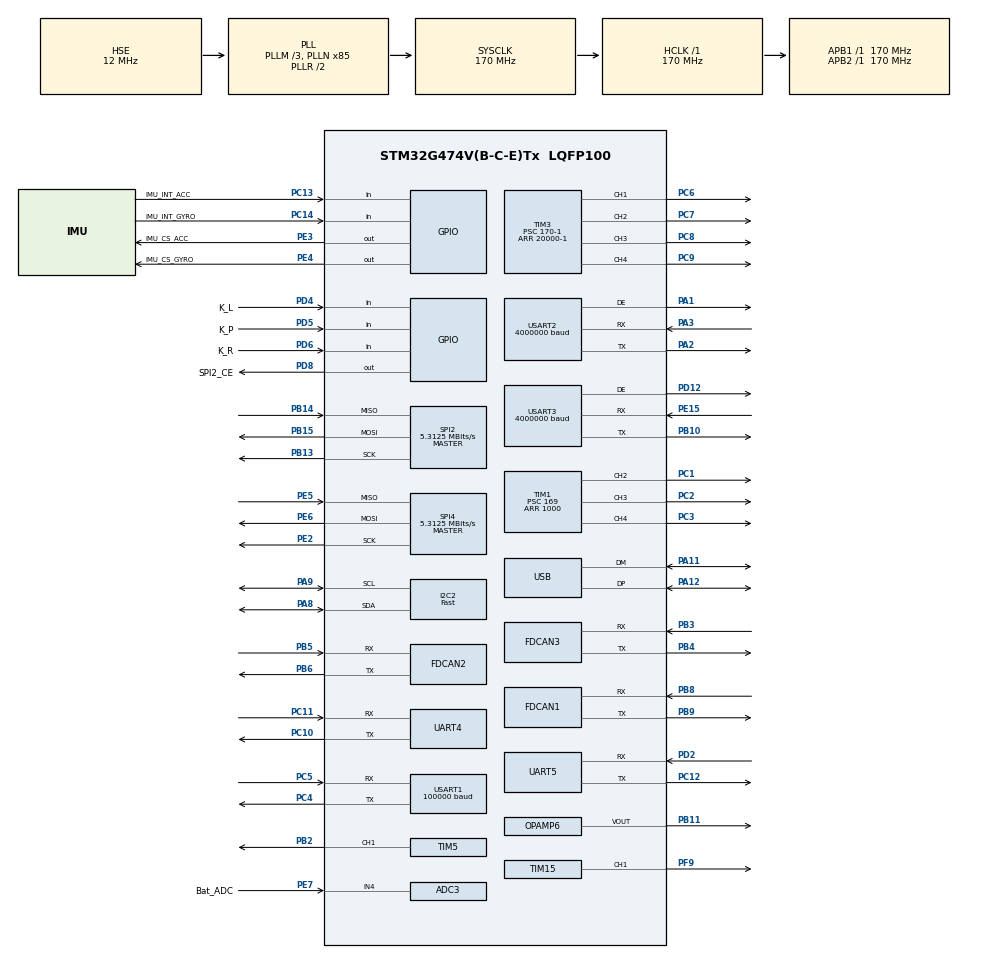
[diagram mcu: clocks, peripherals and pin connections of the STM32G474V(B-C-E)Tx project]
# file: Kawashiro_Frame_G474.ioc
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ADC3.Channel-0\#ChannelRegularConversion=ADC_CHANNEL_4
ADC3.NbrOfConversionFlag=1
ADC3.OffsetNumber-0\#ChannelRegularConversion=ADC_OFFSET_NONE
ADC3.Rank-0\#ChannelRegularConversion=1
ADC3.SamplingTime-0\#ChannelRegularConversion=ADC_SAMPLETIME_2CYCLES_5
ADC3.master=1
Dma.Request0=UART4_RX
Dma.Request1=UART5_RX
Dma.Request2=USART1_RX
Dma.Request3=USART2_RX
Dma.Request4=USART3_RX
Dma.Request5=UART4_TX
Dma.Request6=UART5_TX
Dma.Request7=USART1_TX
Dma.Request8=USART2_TX
Dma.Request9=USART3_TX
Dma.UART4_RX.0.Direction=DMA_PERIPH_TO_MEMORY
Dma.UART4_RX.0.EventEnable=DISABLE
Dma.UART4_RX.0.Instance=DMA1_Channel1
Dma.UART4_RX.0.MemDataAlignment=DMA_MDATAALIGN_BYTE
Dma.UART4_RX.0.MemInc=DMA_MINC_ENABLE
Dma.UART4_RX.0.Mode=DMA_NORMAL
Dma.UART4_RX.0.PeriphDataAlignment=DMA_PDATAALIGN_BYTE
Dma.UART4_RX.0.PeriphInc=DMA_PINC_DISABLE
Dma.UART4_RX.0.Polarity=HAL_DMAMUX_REQ_GEN_RISING
Dma.UART4_RX.0.Priority=DMA_PRIORITY_LOW
Dma.UART4_RX.0.RequestNumber=1
Dma.UART4_RX.0.SignalID=NONE
Dma.UART4_RX.0.SyncEnable=DISABLE
Dma.UART4_RX.0.SyncPolarity=HAL_DMAMUX_SYNC_NO_EVENT
Dma.UART4_RX.0.SyncRequestNumber=1
Dma.UART4_RX.0.SyncSignalID=NONE
Dma.UART4_TX.5.Direction=DMA_MEMORY_TO_PERIPH
Dma.UART4_TX.5.EventEnable=DISABLE
Dma.UART4_TX.5.Instance=DMA1_Channel6
Dma.UART4_TX.5.MemDataAlignment=DMA_MDATAALIGN_BYTE
Dma.UART4_TX.5.MemInc=DMA_MINC_ENABLE
Dma.UART4_TX.5.Mode=DMA_NORMAL
Dma.UART4_TX.5.PeriphDataAlignment=DMA_PDATAALIGN_BYTE
Dma.UART4_TX.5.PeriphInc=DMA_PINC_DISABLE
Dma.UART4_TX.5.Polarity=HAL_DMAMUX_REQ_GEN_RISING
Dma.UART4_TX.5.Priority=DMA_PRIORITY_LOW
Dma.UART4_TX.5.RequestNumber=1
Dma.UART4_TX.5.SignalID=NONE
Dma.UART4_TX.5.SyncEnable=DISABLE
Dma.UART4_TX.5.SyncPolarity=HAL_DMAMUX_SYNC_NO_EVENT
Dma.UART4_TX.5.SyncRequestNumber=1
Dma.UART4_TX.5.SyncSignalID=NONE
Dma.UART5_RX.1.Direction=DMA_PERIPH_TO_MEMORY
Dma.UART5_RX.1.EventEnable=ENABLE
Dma.UART5_RX.1.Instance=DMA1_Channel2
Dma.UART5_RX.1.MemDataAlignment=DMA_MDATAALIGN_BYTE
Dma.UART5_RX.1.MemInc=DMA_MINC_ENABLE
Dma.UART5_RX.1.Mode=DMA_NORMAL
Dma.UART5_RX.1.PeriphDataAlignment=DMA_PDATAALIGN_BYTE
Dma.UART5_RX.1.PeriphInc=DMA_PINC_DISABLE
Dma.UART5_RX.1.Polarity=HAL_DMAMUX_REQ_GEN_RISING
Dma.UART5_RX.1.Priority=DMA_PRIORITY_LOW
Dma.UART5_RX.1.RequestNumber=1
Dma.UART5_RX.1.SignalID=NONE
Dma.UART5_RX.1.SyncEnable=DISABLE
Dma.UART5_RX.1.SyncPolarity=HAL_DMAMUX_SYNC_NO_EVENT
Dma.UART5_RX.1.SyncRequestNumber=1
Dma.UART5_RX.1.SyncSignalID=NONE
Dma.UART5_TX.6.Direction=DMA_MEMORY_TO_PERIPH
Dma.UART5_TX.6.EventEnable=DISABLE
Dma.UART5_TX.6.Instance=DMA1_Channel7
Dma.UART5_TX.6.MemDataAlignment=DMA_MDATAALIGN_BYTE
Dma.UART5_TX.6.MemInc=DMA_MINC_ENABLE
Dma.UART5_TX.6.Mode=DMA_NORMAL
Dma.UART5_TX.6.PeriphDataAlignment=DMA_PDATAALIGN_BYTE
Dma.UART5_TX.6.PeriphInc=DMA_PINC_DISABLE
Dma.UART5_TX.6.Polarity=HAL_DMAMUX_REQ_GEN_RISING
Dma.UART5_TX.6.Priority=DMA_PRIORITY_LOW
Dma.UART5_TX.6.RequestNumber=1
Dma.UART5_TX.6.SignalID=NONE
Dma.UART5_TX.6.SyncEnable=DISABLE
Dma.UART5_TX.6.SyncPolarity=HAL_DMAMUX_SYNC_NO_EVENT
Dma.UART5_TX.6.SyncRequestNumber=1
Dma.UART5_TX.6.SyncSignalID=NONE
Dma.USART1_RX.2.Direction=DMA_PERIPH_TO_MEMORY
Dma.USART1_RX.2.EventEnable=DISABLE
Dma.USART1_RX.2.Instance=DMA1_Channel3
Dma.USART1_RX.2.MemDataAlignment=DMA_MDATAALIGN_BYTE
Dma.USART1_RX.2.MemInc=DMA_MINC_ENABLE
Dma.USART1_RX.2.Mode=DMA_NORMAL
Dma.USART1_RX.2.PeriphDataAlignment=DMA_PDATAALIGN_BYTE
Dma.USART1_RX.2.PeriphInc=DMA_PINC_DISABLE
Dma.USART1_RX.2.Polarity=HAL_DMAMUX_REQ_GEN_RISING
Dma.USART1_RX.2.Priority=DMA_PRIORITY_LOW
Dma.USART1_RX.2.RequestNumber=1
Dma.USART1_RX.2.SignalID=NONE
Dma.USART1_RX.2.SyncEnable=DISABLE
Dma.USART1_RX.2.SyncPolarity=HAL_DMAMUX_SYNC_NO_EVENT
Dma.USART1_RX.2.SyncRequestNumber=1
Dma.USART1_RX.2.SyncSignalID=NONE
Dma.USART1_TX.7.Direction=DMA_MEMORY_TO_PERIPH
Dma.USART1_TX.7.EventEnable=DISABLE
Dma.USART1_TX.7.Instance=DMA1_Channel8
Dma.USART1_TX.7.MemDataAlignment=DMA_MDATAALIGN_BYTE
Dma.USART1_TX.7.MemInc=DMA_MINC_ENABLE
Dma.USART1_TX.7.Mode=DMA_NORMAL
Dma.USART1_TX.7.PeriphDataAlignment=DMA_PDATAALIGN_BYTE
Dma.USART1_TX.7.PeriphInc=DMA_PINC_DISABLE
Dma.USART1_TX.7.Polarity=HAL_DMAMUX_REQ_GEN_RISING
Dma.USART1_TX.7.Priority=DMA_PRIORITY_LOW
Dma.USART1_TX.7.RequestNumber=1
Dma.USART1_TX.7.SignalID=NONE
Dma.USART1_TX.7.SyncEnable=DISABLE
Dma.USART1_TX.7.SyncPolarity=HAL_DMAMUX_SYNC_NO_EVENT
Dma.USART1_TX.7.SyncRequestNumber=1
Dma.USART1_TX.7.SyncSignalID=NONE
Dma.USART2_RX.3.Direction=DMA_PERIPH_TO_MEMORY
Dma.USART2_RX.3.EventEnable=DISABLE
Dma.USART2_RX.3.Instance=DMA1_Channel4
Dma.USART2_RX.3.MemDataAlignment=DMA_MDATAALIGN_BYTE
Dma.USART2_RX.3.MemInc=DMA_MINC_ENABLE
Dma.USART2_RX.3.Mode=DMA_NORMAL
Dma.USART2_RX.3.PeriphDataAlignment=DMA_PDATAALIGN_BYTE
Dma.USART2_RX.3.PeriphInc=DMA_PINC_DISABLE
Dma.USART2_RX.3.Polarity=HAL_DMAMUX_REQ_GEN_RISING
Dma.USART2_RX.3.Priority=DMA_PRIORITY_LOW
Dma.USART2_RX.3.RequestNumber=1
Dma.USART2_RX.3.SignalID=NONE
Dma.USART2_RX.3.SyncEnable=DISABLE
Dma.USART2_RX.3.SyncPolarity=HAL_DMAMUX_SYNC_NO_EVENT
Dma.USART2_RX.3.SyncRequestNumber=1
Dma.USART2_RX.3.SyncSignalID=NONE
Dma.USART2_TX.8.Direction=DMA_MEMORY_TO_PERIPH
Dma.USART2_TX.8.EventEnable=DISABLE
Dma.USART2_TX.8.Instance=DMA2_Channel1
Dma.USART2_TX.8.MemDataAlignment=DMA_MDATAALIGN_BYTE
Dma.USART2_TX.8.MemInc=DMA_MINC_ENABLE
Dma.USART2_TX.8.Mode=DMA_NORMAL
Dma.USART2_TX.8.PeriphDataAlignment=DMA_PDATAALIGN_BYTE
Dma.USART2_TX.8.PeriphInc=DMA_PINC_DISABLE
Dma.USART2_TX.8.Polarity=HAL_DMAMUX_REQ_GEN_RISING
Dma.USART2_TX.8.Priority=DMA_PRIORITY_LOW
Dma.USART2_TX.8.RequestNumber=1
Dma.USART2_TX.8.SignalID=NONE
Dma.USART2_TX.8.SyncEnable=DISABLE
Dma.USART2_TX.8.SyncPolarity=HAL_DMAMUX_SYNC_NO_EVENT
Dma.USART2_TX.8.SyncRequestNumber=1
Dma.USART2_TX.8.SyncSignalID=NONE
Dma.USART3_RX.4.Direction=DMA_PERIPH_TO_MEMORY
Dma.USART3_RX.4.EventEnable=DISABLE
Dma.USART3_RX.4.Instance=DMA1_Channel5
Dma.USART3_RX.4.MemDataAlignment=DMA_MDATAALIGN_BYTE
Dma.USART3_RX.4.MemInc=DMA_MINC_ENABLE
Dma.USART3_RX.4.Mode=DMA_NORMAL
Dma.USART3_RX.4.PeriphDataAlignment=DMA_PDATAALIGN_BYTE
Dma.USART3_RX.4.PeriphInc=DMA_PINC_DISABLE
Dma.USART3_RX.4.Polarity=HAL_DMAMUX_REQ_GEN_RISING
Dma.USART3_RX.4.Priority=DMA_PRIORITY_LOW
Dma.USART3_RX.4.RequestNumber=1
Dma.USART3_RX.4.SignalID=NONE
Dma.USART3_RX.4.SyncEnable=DISABLE
Dma.USART3_RX.4.SyncPolarity=HAL_DMAMUX_SYNC_NO_EVENT
Dma.USART3_RX.4.SyncRequestNumber=1
Dma.USART3_RX.4.SyncSignalID=NONE
Dma.USART3_TX.9.Direction=DMA_MEMORY_TO_PERIPH
Dma.USART3_TX.9.EventEnable=DISABLE
Dma.USART3_TX.9.Instance=DMA2_Channel2
Dma.USART3_TX.9.MemDataAlignment=DMA_MDATAALIGN_BYTE
Dma.USART3_TX.9.MemInc=DMA_MINC_ENABLE
Dma.USART3_TX.9.Mode=DMA_NORMAL
Dma.USART3_TX.9.PeriphDataAlignment=DMA_PDATAALIGN_BYTE
Dma.USART3_TX.9.PeriphInc=DMA_PINC_DISABLE
Dma.USART3_TX.9.Polarity=HAL_DMAMUX_REQ_GEN_RISING
Dma.USART3_TX.9.Priority=DMA_PRIORITY_LOW
Dma.USART3_TX.9.RequestNumber=1
Dma.USART3_TX.9.SignalID=NONE
Dma.USART3_TX.9.SyncEnable=DISABLE
Dma.USART3_TX.9.SyncPolarity=HAL_DMAMUX_SYNC_NO_EVENT
Dma.USART3_TX.9.SyncRequestNumber=1
Dma.USART3_TX.9.SyncSignalID=NONE
FDCAN1.AutoRetransmission=ENABLE
FDCAN1.CalculateBaudRateNominal=1000000
FDCAN1.CalculateTimeBitNominal=1000
FDCAN1.CalculateTimeQuantumNominal=100.0
FDCAN1.NominalPrescaler=17
FDCAN1.NominalTimeSeg1=4
FDCAN1.NominalTimeSeg2=5
FDCAN2.AutoRetransmission=ENABLE
FDCAN2.CalculateBaudRateNominal=1000000
FDCAN2.CalculateTimeBitNominal=1000
FDCAN2.CalculateTimeQuantumNominal=100.0
FDCAN2.NominalPrescaler=17
FDCAN2.NominalTimeSeg1=4
FDCAN2.NominalTimeSeg2=5
FDCAN3.AutoRetransmission=ENABLE
FDCAN3.CalculateBaudRateNominal=1000000
FDCAN3.CalculateTimeBitNominal=1000
FDCAN3.CalculateTimeQuantumNominal=100.0
FDCAN3.NominalPrescaler=17
FDCAN3.NominalTimeSeg1=4
FDCAN3.NominalTimeSeg2=5
FREERTOS.Tasks01=defaultTask,0,128,StartDefaultTask,Default,NULL,Dynamic,NULL,NULL;Robo,-3,512,Robo_Task,Default,NULL,Dynamic,NULL,NULL;INS,-3,1024,INS_Task,Default,NULL,Dynamic,NULL,NULL;Gimbal,-3,1024,Gimbal_Task,Default,NULL,Dynamic,NULL,NULL;Chassis,-3,1024,Chassis_Task,Default,NULL,Dynamic,NULL,NULL;Communicate,-3,512,Communicate_Task,Default,NULL,Dynamic,NULL,NULL;Key_LED,-3,256,Key_LED_Task,Default,NULL,Dynamic,NULL,NULL;Buzzer,-3,256,Buzzer_Task,Default,NULL,Dynamic,NULL,NULL;UI,-3,256,UI_Task,Default,NULL,Dynamic,NULL,NULL;Shoot,-3,1024,Shoot_Task,Default,NULL,Dynamic,NULL,NULL;Aim,-3,512,Aim_Task,Default,NULL,Dynamic,NULL,NULL;ErrorHandle,-3,256,ErrorHandle_Task,Default,NULL,Dynamic,NULL,NULL
FREERTOS.configTOTAL_HEAP_SIZE=32768
I2C2.I2C_Speed_Mode=I2C_Fast
I2C2.Timing=0x40621236
Mcu.Family=STM32G4
Mcu.Name=STM32G474V(B-C-E)Tx
Mcu.Package=LQFP100
NVIC.DMA1_Channel1_IRQn=true\:4\:0\:true\:false\:true\:false\:false\:true\:true
NVIC.DMA1_Channel2_IRQn=true\:4\:0\:true\:false\:true\:false\:false\:true\:true
NVIC.DMA1_Channel3_IRQn=true\:4\:0\:true\:false\:true\:false\:false\:true\:true
NVIC.DMA1_Channel4_IRQn=true\:4\:0\:true\:false\:true\:false\:false\:true\:true
NVIC.DMA1_Channel5_IRQn=true\:4\:0\:true\:false\:true\:false\:false\:true\:true
NVIC.DMAMUX_OVR_IRQn=true\:5\:0\:false\:false\:true\:false\:false\:true\:true
NVIC.FDCAN1_IT0_IRQn=true\:5\:0\:false\:false\:true\:true\:true\:true\:true
NVIC.FDCAN1_IT1_IRQn=true\:5\:0\:false\:false\:true\:true\:true\:true\:true
NVIC.FDCAN2_IT0_IRQn=true\:5\:0\:false\:false\:true\:true\:true\:true\:true
NVIC.FDCAN2_IT1_IRQn=true\:5\:0\:false\:false\:true\:true\:true\:true\:true
NVIC.FDCAN3_IT0_IRQn=true\:5\:0\:false\:false\:true\:true\:true\:true\:true
NVIC.FDCAN3_IT1_IRQn=true\:5\:0\:false\:false\:true\:true\:true\:true\:true
NVIC.PriorityGroup=NVIC_PRIORITYGROUP_4
NVIC.TIM20_UP_IRQn=true\:15\:0\:false\:false\:true\:false\:false\:true\:true
NVIC.TimeBase=TIM20_UP_IRQn
NVIC.TimeBaseIP=TIM20
NVIC.UART4_IRQn=true\:4\:0\:true\:false\:true\:false\:true\:true\:true
NVIC.UART5_IRQn=true\:4\:0\:true\:false\:true\:false\:true\:true\:true
NVIC.USART1_IRQn=true\:4\:0\:true\:false\:true\:false\:true\:true\:true
NVIC.USART2_IRQn=true\:4\:0\:true\:false\:true\:false\:true\:true\:true
NVIC.USART3_IRQn=true\:4\:0\:true\:false\:true\:false\:true\:true\:true
NVIC.USB_LP_IRQn=true\:5\:0\:false\:false\:true\:true\:false\:true\:true
PA1.GPIO_Mode=GPIO_MODE_AF_PP
PA1.GPIO_PuPd=GPIO_PULLDOWN
PA1.GPIO_Speed=GPIO_SPEED_FREQ_HIGH
PA1.Mode=Hardware Flow Control (RS485)
PA1.Signal=USART2_DE
PA11.Mode=Device
PA11.Signal=USB_DM
PA12.Mode=Device
PA12.Signal=USB_DP
PA13.Mode=Serial_Wire
PA13.Signal=SYS_JTMS-SWDIO
PA14.Mode=Serial_Wire
PA14.Signal=SYS_JTCK-SWCLK
PA2.GPIO_Mode=GPIO_MODE_AF_PP
PA2.GPIO_PuPd=GPIO_PULLUP
PA2.GPIO_Speed=GPIO_SPEED_FREQ_HIGH
PA2.Mode=Asynchronous
PA2.Signal=USART2_TX
PA3.GPIO_Mode=GPIO_MODE_AF_PP
PA3.GPIO_PuPd=GPIO_PULLUP
PA3.GPIO_Speed=GPIO_SPEED_FREQ_HIGH
PA3.Mode=Asynchronous
PA3.Signal=USART2_RX
PA8.GPIO_Mode=GPIO_MODE_AF_OD
PA8.GPIO_Pu=GPIO_PULLUP
PA8.GPIO_Speed=GPIO_SPEED_FREQ_HIGH
PA8.Mode=I2C
PA8.Signal=I2C2_SDA
PA9.GPIO_Mode=GPIO_MODE_AF_OD
PA9.GPIO_Pu=GPIO_PULLUP
PA9.GPIO_Speed=GPIO_SPEED_FREQ_HIGH
PA9.Mode=I2C
PA9.Signal=I2C2_SCL
PB10.GPIO_Mode=GPIO_MODE_AF_PP
PB10.GPIO_PuPd=GPIO_PULLUP
PB10.GPIO_Speed=GPIO_SPEED_FREQ_HIGH
PB10.Mode=Asynchronous
PB10.Signal=USART3_TX
PB11.Mode=Follower-DAC_OUT2-INP
PB11.Signal=OPAMP6_VOUT
PB13.Mode=Full_Duplex_Master
PB13.Signal=SPI2_SCK
PB14.Mode=Full_Duplex_Master
PB14.Signal=SPI2_MISO
PB15.Mode=Full_Duplex_Master
PB15.Signal=SPI2_MOSI
PB2.Signal=S_TIM5_CH1
PB3.Mode=FDCAN_Activate
PB3.Signal=FDCAN3_RX
PB4.Mode=FDCAN_Activate
PB4.Signal=FDCAN3_TX
PB5.Mode=FDCAN_Activate
PB5.Signal=FDCAN2_RX
PB6.Mode=FDCAN_Activate
PB6.Signal=FDCAN2_TX
PB8-BOOT0.Mode=FDCAN_Activate
PB8-BOOT0.Signal=FDCAN1_RX
PB9.Mode=FDCAN_Activate
PB9.Signal=FDCAN1_TX
PC1.Signal=S_TIM1_CH2
PC10.GPIO_ModeDefaultPP=GPIO_MODE_AF_PP
PC10.GPIO_PuPd=GPIO_PULLUP
PC10.GPIO_Speed=GPIO_SPEED_FREQ_VERY_HIGH
PC10.Mode=Asynchronous
PC10.Signal=UART4_TX
PC11.GPIO_ModeDefaultPP=GPIO_MODE_AF_PP
PC11.GPIO_PuPd=GPIO_PULLUP
PC11.GPIO_Speed=GPIO_SPEED_FREQ_VERY_HIGH
PC11.Mode=Asynchronous
PC11.Signal=UART4_RX
PC12.GPIO_ModeDefaultPP=GPIO_MODE_AF_PP
PC12.GPIO_PuPd=GPIO_PULLUP
PC12.GPIO_Speed=GPIO_SPEED_FREQ_VERY_HIGH
PC12.Mode=Asynchronous
PC12.Signal=UART5_TX
PC13.GPIO_Label=IMU_INT_ACC
PC13.Signal=GPIO_Input
PC14-OSC32_IN.GPIO_Label=IMU_INT_GYRO
PC14-OSC32_IN.Signal=GPIO_Input
PC2.Signal=S_TIM1_CH3
PC3.Signal=S_TIM1_CH4
PC4.GPIO_Mode=GPIO_MODE_AF_PP
PC4.GPIO_PuPd=GPIO_PULLUP
PC4.GPIO_Speed=GPIO_SPEED_FREQ_HIGH
PC4.Mode=Asynchronous
PC4.Signal=USART1_TX
PC5.GPIO_Mode=GPIO_MODE_AF_PP
PC5.GPIO_PuPd=GPIO_PULLUP
PC5.GPIO_Speed=GPIO_SPEED_FREQ_HIGH
PC5.Mode=Asynchronous
PC5.Signal=USART1_RX
PC6.Signal=S_TIM3_CH1
PC7.Signal=S_TIM3_CH2
PC8.Signal=S_TIM3_CH3
PC9.Signal=S_TIM3_CH4
PD12.GPIO_Mode=GPIO_MODE_AF_PP
PD12.GPIO_PuPd=GPIO_PULLDOWN
PD12.GPIO_Speed=GPIO_SPEED_FREQ_HIGH
PD12.Mode=Hardware Flow Control (RS485)
PD12.Signal=USART3_DE
PD2.GPIO_ModeDefaultPP=GPIO_MODE_AF_PP
PD2.GPIO_PuPd=GPIO_PULLUP
PD2.GPIO_Speed=GPIO_SPEED_FREQ_VERY_HIGH
PD2.Mode=Asynchronous
PD2.Signal=UART5_RX
PD4.GPIO_Label=K_L
PD4.GPIO_Mode=GPIO_MODE_INPUT
PD4.GPIO_PuPd=GPIO_PULLUP
PD4.Signal=GPIO_Input
PD5.GPIO_Label=K_P
PD5.GPIO_Mode=GPIO_MODE_INPUT
PD5.GPIO_PuPd=GPIO_PULLUP
PD5.Signal=GPIO_Input
PD6.GPIO_Label=K_R
PD6.GPIO_Mode=GPIO_MODE_INPUT
PD6.GPIO_PuPd=GPIO_PULLUP
PD6.Signal=GPIO_Input
PD8.GPIO_Label=SPI2_CE
PD8.GPIO_ModeDefaultOutputPP=GPIO_MODE_OUTPUT_PP
PD8.GPIO_PuPd=GPIO_PULLUP
PD8.GPIO_Speed=GPIO_SPEED_FREQ_HIGH
PD8.PinState=GPIO_PIN_SET
PD8.Signal=GPIO_Output
PE15.GPIO_Mode=GPIO_MODE_AF_PP
PE15.GPIO_PuPd=GPIO_PULLUP
PE15.GPIO_Speed=GPIO_SPEED_FREQ_HIGH
PE15.Mode=Asynchronous
PE15.Signal=USART3_RX
PE2.GPIO_Speed=GPIO_SPEED_FREQ_VERY_HIGH
PE2.Mode=Full_Duplex_Master
PE2.Signal=SPI4_SCK
PE3.GPIO_Label=IMU_CS_ACC
PE3.GPIO_ModeDefaultOutputPP=GPIO_MODE_OUTPUT_PP
PE3.GPIO_PuPd=GPIO_PULLUP
PE3.GPIO_Speed=GPIO_SPEED_FREQ_HIGH
PE3.PinState=GPIO_PIN_SET
PE3.Signal=GPIO_Output
PE4.GPIO_Label=IMU_CS_GYRO
PE4.GPIO_ModeDefaultOutputPP=GPIO_MODE_OUTPUT_PP
PE4.GPIO_PuPd=GPIO_PULLUP
PE4.GPIO_Speed=GPIO_SPEED_FREQ_HIGH
PE4.PinState=GPIO_PIN_SET
PE4.Signal=GPIO_Output
PE5.GPIO_Speed=GPIO_SPEED_FREQ_VERY_HIGH
PE5.Mode=Full_Duplex_Master
PE5.Signal=SPI4_MISO
PE6.GPIO_Speed=GPIO_SPEED_FREQ_VERY_HIGH
PE6.Mode=Full_Duplex_Master
PE6.Signal=SPI4_MOSI
PE7.GPIO_Label=Bat_ADC
PE7.Mode=IN4-Single-Ended
PE7.Signal=ADC3_IN4
PF0-OSC_IN.Mode=HSE-External-Oscillator
PF0-OSC_IN.Signal=RCC_OSC_IN
PF1-OSC_OUT.Mode=HSE-External-Oscillator
PF1-OSC_OUT.Signal=RCC_OSC_OUT
PF9.Signal=S_TIM15_CH1
ProjectManager.HeapSize=0x2000
ProjectManager.StackSize=0x4000
ProjectManager.TargetToolchain=CMake
RCC.ADC12Freq_Value=170000000
RCC.ADC345Freq_Value=170000000
RCC.AHBFreq_Value=170000000
RCC.APB1Freq_Value=170000000
RCC.APB1TimFreq_Value=170000000
RCC.APB2Freq_Value=170000000
RCC.APB2TimFreq_Value=170000000
RCC.CK48CLockSelection=RCC_USBCLKSOURCE_HSI48
RCC.CortexFreq_Value=170000000
RCC.EXTERNAL_CLOCK_VALUE=12288000
RCC.HCLKFreq_Value=170000000
RCC.HSE_VALUE=12000000
RCC.HSI48_VALUE=48000000
RCC.HSI_VALUE=16000000
RCC.LSE_VALUE=32768
RCC.PLLM=RCC_PLLM_DIV3
RCC.PLLN=85
RCC.PLLQ=RCC_PLLQ_DIV8
RCC.PLLSourceVirtual=RCC_PLLSOURCE_HSE
RCC.SYSCLKFreq_VALUE=170000000
RCC.SYSCLKSource=RCC_SYSCLKSOURCE_PLLCLK
RCC.USBFreq_Value=48000000
RCC.VCOOutputFreq_Value=340000000
SH.S_TIM15_CH1.0=TIM15_CH1,PWM Generation1 CH1
SH.S_TIM1_CH2.0=TIM1_CH2,PWM Generation2 CH2
SH.S_TIM1_CH3.0=TIM1_CH3,PWM Generation3 CH3
SH.S_TIM1_CH4.0=TIM1_CH4,PWM Generation4 CH4
SH.S_TIM3_CH1.0=TIM3_CH1,PWM Generation1 CH1
SH.S_TIM3_CH2.0=TIM3_CH2,PWM Generation2 CH2
SH.S_TIM3_CH3.0=TIM3_CH3,PWM Generation3 CH3
SH.S_TIM3_CH4.0=TIM3_CH4,PWM Generation4 CH4
SH.S_TIM5_CH1.0=TIM5_CH1,PWM Generation1 CH1
SPI2.BaudRatePrescaler=SPI_BAUDRATEPRESCALER_32
SPI2.CalculateBaudRate=5.3125 MBits/s
SPI2.DataSize=SPI_DATASIZE_8BIT
SPI2.Direction=SPI_DIRECTION_2LINES
SPI2.Mode=SPI_MODE_MASTER
SPI2.VirtualType=VM_MASTER
SPI4.BaudRatePrescaler=SPI_BAUDRATEPRESCALER_32
SPI4.CLKPhase=SPI_PHASE_2EDGE
SPI4.CLKPolarity=SPI_POLARITY_HIGH
SPI4.CalculateBaudRate=5.3125 MBits/s
SPI4.DataSize=SPI_DATASIZE_8BIT
SPI4.Direction=SPI_DIRECTION_2LINES
SPI4.Mode=SPI_MODE_MASTER
SPI4.VirtualType=VM_MASTER
TIM1.Channel-PWM\ Generation2\ CH2=TIM_CHANNEL_2
TIM1.Channel-PWM\ Generation3\ CH3=TIM_CHANNEL_3
TIM1.Channel-PWM\ Generation4\ CH4=TIM_CHANNEL_4
TIM1.OCPolarity_2=TIM_OCPOLARITY_LOW
TIM1.OCPolarity_3=TIM_OCPOLARITY_LOW
TIM1.OCPolarity_4=TIM_OCPOLARITY_LOW
TIM1.PeriodNoDither=1000
TIM1.Prescaler=169
TIM15.Channel-PWM\ Generation1\ CH1=TIM_CHANNEL_1
TIM15.PeriodNoDither=20000-1
TIM15.Prescaler=170-1
TIM3.Channel-PWM\ Generation1\ CH1=TIM_CHANNEL_1
TIM3.Channel-PWM\ Generation2\ CH2=TIM_CHANNEL_2
TIM3.Channel-PWM\ Generation3\ CH3=TIM_CHANNEL_3
TIM3.Channel-PWM\ Generation4\ CH4=TIM_CHANNEL_4
TIM3.PeriodNoDither=20000-1
TIM3.Prescaler=170-1
TIM5.AutoReloadPreload=TIM_AUTORELOAD_PRELOAD_ENABLE
TIM5.Channel-PWM\ Generation1\ CH1=TIM_CHANNEL_1
TIM5.OC1Preload_PWM=DISABLE
TIM5.OCFastMode_PWM-PWM\ Generation1\ CH1=TIM_OCFAST_ENABLE
TIM5.PeriodNoDither=1000-1
TIM5.Prescaler=170-1
USART1.BaudRate=100000
USART1.Parity=PARITY_EVEN
USART1.VirtualMode-Asynchronous=VM_ASYNC
USART1.WordLength=WORDLENGTH_9B
USART2.BaudRate=4000000
USART2.VirtualMode-Asynchronous=VM_ASYNC
USART2.VirtualMode-Hardware\ Flow\ Control\ (RS485)=VM_ASYNC
USART3.BaudRate=4000000
USART3.VirtualMode-Asynchronous=VM_ASYNC
USART3.VirtualMode-Hardware\ Flow\ Control\ (RS485)=VM_ASYNC
USB_DEVICE.CLASS_NAME_FS=CDC
USB_DEVICE.VirtualMode=Cdc
USB_DEVICE.VirtualModeFS=Cdc_FS
VP_CRC_VS_CRC.Mode=CRC_Activate
VP_DAC3_VS_DACI1.Mode=DAC_OUT1_Int
VP_FREERTOS_VS_CMSIS_V1.Mode=CMSIS_V1
VP_SYS_VS_DBSignals.Mode=DisableDeadBatterySignals
VP_SYS_VS_tim20.Mode=TIM20
VP_TIM15_VS_ClockSourceINT.Mode=Internal
VP_TIM1_VS_ClockSourceINT.Mode=Internal
VP_TIM3_VS_ClockSourceINT.Mode=Internal
VP_TIM5_VS_ClockSourceINT.Mode=Internal
VP_USB_DEVICE_VS_USB_DEVICE_CDC_FS.Mode=CDC_FS
board=custom

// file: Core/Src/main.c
/* USER CODE BEGIN Header */
/**
  ******************************************************************************
  * @file           : main.c
  * @brief          : Main program body
  ******************************************************************************
  * @attention
  *
  * Copyright (c) 2024 STMicroelectronics.
  * All rights reserved.
  *
  * This software is licensed under terms that can be found in the LICENSE file
  * in the root directory of this software component.
  * If no LICENSE file comes with this software, it is provided AS-IS.
  *
  ******************************************************************************
  */
/* USER CODE END Header */
#include "main.h"
#include "cmsis_os.h"
#include "adc.h"
#include "crc.h"
#include "dac.h"
#include "dma.h"
#include "fdcan.h"
#include "i2c.h"
#include "opamp.h"
#include "spi.h"
#include "tim.h"
#include "usart.h"
#include "usb_device.h"
#include "gpio.h"

/* USER CODE BEGIN Includes */
#include "BMI088driver.h"
#include "CAN_Driver.h"
#include "USART_Driver.h"
#include "Buzzer.h"
#include "USB_Driver.h"
/* USER CODE END Includes */

void SystemClock_Config(void);
void MX_FREERTOS_Init(void);

int main(void)
{

  /* MCU Configuration--------------------------------------------------------*/

  /* Reset of all peripherals, Initializes the Flash interface and the Systick. */
  HAL_Init();

  /* Configure the system clock */
  SystemClock_Config();

  /* Initialize all configured peripherals */
  MX_GPIO_Init();
  MX_DMA_Init();
  MX_FDCAN1_Init();
  MX_FDCAN2_Init();
  MX_FDCAN3_Init();
  MX_UART4_Init();
  MX_UART5_Init();
  MX_USART1_UART_Init();
  MX_USART2_UART_Init();
  MX_USART3_UART_Init();
  MX_ADC3_Init();
  MX_DAC3_Init();
  MX_I2C2_Init();
  MX_OPAMP6_Init();
  MX_SPI2_Init();
  MX_SPI4_Init();
  MX_TIM1_Init();
  MX_TIM3_Init();
  MX_TIM5_Init();
  MX_TIM15_Init();
  MX_CRC_Init();
  /* USER CODE BEGIN 2 */
    /*===| 蜂鸣器 |===*/
        Buzzer_Init();
//        Buzzer_Set_Tone(L3);

        /*===| 初始化DWT |===*/
        DWT_Init(170);

        /*===| 等待陀螺仪校准 |===*/
        while (BMI088_init(IMU_SPI, 1) != BMI088_NO_ERROR);

        /*===| 通信初始化 |===*/
        CAN_Init();                                             //CAN初始化
        USART_Init();                                           //串口初始化

        /*===| 系统初始化完成提示音 |===*/
        Buzzer_Set_SoundEffect(Buzzer_SoundEffect_SystemStart);
  /* USER CODE END 2 */

  /* Call init function for freertos objects (in cmsis_os2.c) */
  MX_FREERTOS_Init();

  /* Start scheduler */
  osKernelStart();

  /* We should never get here as control is now taken by the scheduler */

  /* Infinite loop */
  while (1)
  {

  }
}

void SystemClock_Config(void)
{
  RCC_OscInitTypeDef RCC_OscInitStruct = {0};
  RCC_ClkInitTypeDef RCC_ClkInitStruct = {0};

  /** Configure the main internal regulator output voltage
  */
  HAL_PWREx_ControlVoltageScaling(PWR_REGULATOR_VOLTAGE_SCALE1_BOOST);

  /** Initializes the RCC Oscillators according to the specified parameters
  * in the RCC_OscInitTypeDef structure.
  */
  RCC_OscInitStruct.OscillatorType = RCC_OSCILLATORTYPE_HSI48|RCC_OSCILLATORTYPE_HSE;
  RCC_OscInitStruct.HSEState = RCC_HSE_ON;
  RCC_OscInitStruct.HSI48State = RCC_HSI48_ON;
  RCC_OscInitStruct.PLL.PLLState = RCC_PLL_ON;
  RCC_OscInitStruct.PLL.PLLSource = RCC_PLLSOURCE_HSE;
  RCC_OscInitStruct.PLL.PLLM = RCC_PLLM_DIV3;
  RCC_OscInitStruct.PLL.PLLN = 85;
  RCC_OscInitStruct.PLL.PLLP = RCC_PLLP_DIV2;
  RCC_OscInitStruct.PLL.PLLQ = RCC_PLLQ_DIV8;
  RCC_OscInitStruct.PLL.PLLR = RCC_PLLR_DIV2;
  if (HAL_RCC_OscConfig(&RCC_OscInitStruct) != HAL_OK)
  {
    Error_Handler();
  }

  /** Initializes the CPU, AHB and APB buses clocks
  */
  RCC_ClkInitStruct.ClockType = RCC_CLOCKTYPE_HCLK|RCC_CLOCKTYPE_SYSCLK
                              |RCC_CLOCKTYPE_PCLK1|RCC_CLOCKTYPE_PCLK2;
  RCC_ClkInitStruct.SYSCLKSource = RCC_SYSCLKSOURCE_PLLCLK;
  RCC_ClkInitStruct.AHBCLKDivider = RCC_SYSCLK_DIV1;
  RCC_ClkInitStruct.APB1CLKDivider = RCC_HCLK_DIV1;
  RCC_ClkInitStruct.APB2CLKDivider = RCC_HCLK_DIV1;

  if (HAL_RCC_ClockConfig(&RCC_ClkInitStruct, FLASH_LATENCY_4) != HAL_OK)
  {
    Error_Handler();
  }
}

void HAL_TIM_PeriodElapsedCallback(TIM_HandleTypeDef *htim)
{
  if (htim->Instance == TIM20)
  {
    HAL_IncTick();
  }
}

void Error_Handler(void)
{
  __disable_irq();
  while (1)
  {
  }
}

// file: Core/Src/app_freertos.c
/* USER CODE BEGIN Header */
/**
  ******************************************************************************
  * File Name          : app_freertos.c
  * Description        : Code for freertos applications
  ******************************************************************************
  * @attention
  *
  * Copyright (c) 2024 STMicroelectronics.
  * All rights reserved.
  *
  * This software is licensed under terms that can be found in the LICENSE file
  * in the root directory of this software component.
  * If no LICENSE file comes with this software, it is provided AS-IS.
  *
  ******************************************************************************
  */
/* USER CODE END Header */

#include "FreeRTOS.h"
#include "task.h"
#include "main.h"
#include "cmsis_os.h"

osThreadId defaultTaskHandle;
osThreadId RoboHandle;
osThreadId INSHandle;
osThreadId GimbalHandle;
osThreadId ChassisHandle;
osThreadId CommunicateHandle;
osThreadId Key_LEDHandle;
osThreadId BuzzerHandle;
osThreadId UIHandle;
osThreadId ShootHandle;
osThreadId AimHandle;
osThreadId ErrorHandleHandle;

void StartDefaultTask(void const * argument);
void Robo_Task(void const * argument);
void INS_Task(void const * argument);
void Gimbal_Task(void const * argument);
void Chassis_Task(void const * argument);
void Communicate_Task(void const * argument);
void Key_LED_Task(void const * argument);
void Buzzer_Task(void const * argument);
void UI_Task(void const * argument);
void Shoot_Task(void const * argument);
void Aim_Task(void const * argument);
void ErrorHandle_Task(void const * argument);

void MX_FREERTOS_Init(void); /* (MISRA C 2004 rule 8.1) */

void MX_FREERTOS_Init(void) {

  /* Create the thread(s) */
  /* definition and creation of defaultTask */
  osThreadDef(defaultTask, StartDefaultTask, osPriorityNormal, 0, 128);
  defaultTaskHandle = osThreadCreate(osThread(defaultTask), NULL);

  /* definition and creation of Robo */
  osThreadDef(Robo, Robo_Task, osPriorityIdle, 0, 512);
  RoboHandle = osThreadCreate(osThread(Robo), NULL);

  /* definition and creation of INS */
  osThreadDef(INS, INS_Task, osPriorityIdle, 0, 1024);
  INSHandle = osThreadCreate(osThread(INS), NULL);

  /* definition and creation of Gimbal */
  osThreadDef(Gimbal, Gimbal_Task, osPriorityIdle, 0, 1024);
  GimbalHandle = osThreadCreate(osThread(Gimbal), NULL);

  /* definition and creation of Chassis */
  osThreadDef(Chassis, Chassis_Task, osPriorityIdle, 0, 1024);
  ChassisHandle = osThreadCreate(osThread(Chassis), NULL);

  /* definition and creation of Communicate */
  osThreadDef(Communicate, Communicate_Task, osPriorityIdle, 0, 512);
  CommunicateHandle = osThreadCreate(osThread(Communicate), NULL);

  /* definition and creation of Key_LED */
  osThreadDef(Key_LED, Key_LED_Task, osPriorityIdle, 0, 256);
  Key_LEDHandle = osThreadCreate(osThread(Key_LED), NULL);

  /* definition and creation of Buzzer */
  osThreadDef(Buzzer, Buzzer_Task, osPriorityIdle, 0, 256);
  BuzzerHandle = osThreadCreate(osThread(Buzzer), NULL);

  /* definition and creation of UI */
  osThreadDef(UI, UI_Task, osPriorityIdle, 0, 256);
  UIHandle = osThreadCreate(osThread(UI), NULL);

  /* definition and creation of Shoot */
  osThreadDef(Shoot, Shoot_Task, osPriorityIdle, 0, 1024);
  ShootHandle = osThreadCreate(osThread(Shoot), NULL);

  /* definition and creation of Aim */
  osThreadDef(Aim, Aim_Task, osPriorityIdle, 0, 512);
  AimHandle = osThreadCreate(osThread(Aim), NULL);

  /* definition and creation of ErrorHandle */
  osThreadDef(ErrorHandle, ErrorHandle_Task, osPriorityIdle, 0, 256);
  ErrorHandleHandle = osThreadCreate(osThread(ErrorHandle), NULL);

}

/* USER CODE BEGIN Header_StartDefaultTask */
/**
  * @brief  Function implementing the defaultTask thread.
  * @param  argument: Not used
  * @retval None
  */
#include "RoboControl.h"
#include "Remote_Control.h"
#include "Motor_Driver.h"
/* USER CODE END Header_StartDefaultTask */
void StartDefaultTask(void const * argument)
{
  /* init code for USB_Device */
  MX_USB_Device_Init();
  /* USER CODE BEGIN StartDefaultTask */
  /* Infinite loop */
  uint8_t time_number=0;
  for(;;)
  {
        /*===| 电机角度计算速度 |===*/
        Motor_Get_TotalAngle_Speed(&Motor.Pitch, 0.3f);
//        Get_TotalAngle_Speed(&Motor_Data_Struct[Gimbal_Yaw_ID], 0.3f);
        time_number++;

				if(time_number>2)
        {
          Remote_Save_Last_Data();
          time_number=0;
        }

        osDelay(5);
  }
  /* USER CODE END StartDefaultTask */
}

/* USER CODE BEGIN Header_Robo_Task */
/**
* @brief Function implementing the Robo thread.
* @param argument: Not used
* @retval None
*/__weak
/* USER CODE END Header_Robo_Task */
void Robo_Task(void const * argument)
{
  for(;;)
  {
    osDelay(1);
  }
}

/* USER CODE BEGIN Header_INS_Task */
/**
* @brief Function implementing the INS thread.
* @param argument: Not used
* @retval None
*/__weak
/* USER CODE END Header_INS_Task */
void INS_Task(void const * argument)
{
  for(;;)
  {
    osDelay(1);
  }
}

/* USER CODE BEGIN Header_Gimbal_Task */
/**
* @brief Function implementing the Gimbal thread.
* @param argument: Not used
* @retval None
*/__weak
/* USER CODE END Header_Gimbal_Task */
void Gimbal_Task(void const * argument)
{
  for(;;)
  {
    osDelay(1);
  }
}

/* USER CODE BEGIN Header_Chassis_Task */
/**
* @brief Function implementing the Chassis thread.
* @param argument: Not used
* @retval None
*/__weak
/* USER CODE END Header_Chassis_Task */
void Chassis_Task(void const * argument)
{
  for(;;)
  {
    osDelay(1);
  }
}

/* USER CODE BEGIN Header_Communicate_Task */
/**
* @brief Function implementing the Communicate thread.
* @param argument: Not used
* @retval None
*/__weak
/* USER CODE END Header_Communicate_Task */
void Communicate_Task(void const * argument)
{
  for(;;)
  {
    osDelay(1);
  }
}

/* USER CODE BEGIN Header_Key_LED_Task */
/**
* @brief Function implementing the Key_LED thread.
* @param argument: Not used
* @retval None
*/__weak
/* USER CODE END Header_Key_LED_Task */
void Key_LED_Task(void const * argument)
{
  for(;;)
  {
    osDelay(1);
  }
}

/* USER CODE BEGIN Header_Buzzer_Task */
/**
* @brief Function implementing the Buzzer thread.
* @param argument: Not used
* @retval None
*/__weak
/* USER CODE END Header_Buzzer_Task */
void Buzzer_Task(void const * argument)
{
  for(;;)
  {
    osDelay(1);
  }
}

/* USER CODE BEGIN Header_UI_Task */
/**
* @brief Function implementing the UI thread.
* @param argument: Not used
* @retval None
*/__weak
/* USER CODE END Header_UI_Task */
void UI_Task(void const * argument)
{
  for(;;)
  {
    osDelay(1);
  }
}

/* USER CODE BEGIN Header_Shoot_Task */
/**
* @brief Function implementing the Shoot thread.
* @param argument: Not used
* @retval None
*/__weak
/* USER CODE END Header_Shoot_Task */
void Shoot_Task(void const * argument)
{
  for(;;)
  {
    osDelay(1);
  }
}

/* USER CODE BEGIN Header_Aim_Task */
/**
* @brief Function implementing the Aim thread.
* @param argument: Not used
* @retval None
*/__weak
/* USER CODE END Header_Aim_Task */
void Aim_Task(void const * argument)
{
  for(;;)
  {
    osDelay(1);
  }
}

/* USER CODE BEGIN Header_ErrorHandle_Task */
/**
* @brief Function implementing the ErrorHandle thread.
* @param argument: Not used
* @retval None
*/__weak
/* USER CODE END Header_ErrorHandle_Task */
void ErrorHandle_Task(void const * argument)
{
  for(;;)
  {
    osDelay(1);
  }
}
